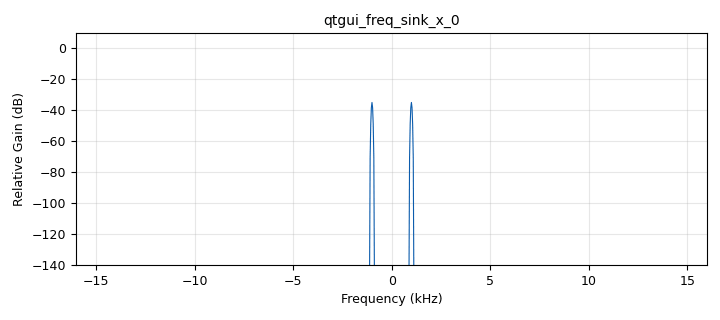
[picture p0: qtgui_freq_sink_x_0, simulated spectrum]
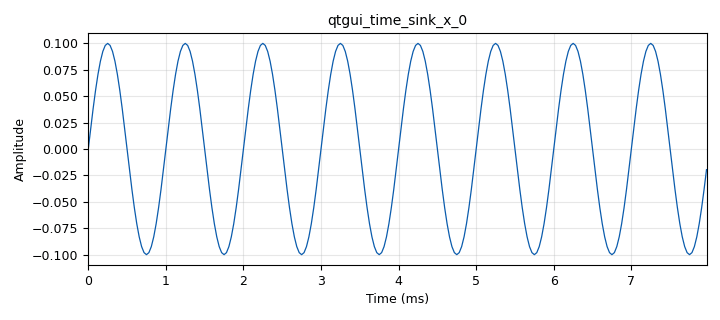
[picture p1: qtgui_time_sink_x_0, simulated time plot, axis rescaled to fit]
options:
  parameters:
    author: Aqil
    generate_options: qt_gui
    id: Praktikum1d
    output_language: python
    title: Not titled yet
  states: {}

blocks:
- name: amplitude
  id: variable_qtgui_range
  parameters:
    start: '-2'
    step: '0.01'
    stop: '2'
    value: '1'
  states: {}
- name: frekuensi
  id: variable_qtgui_range
  parameters:
    start: '20'
    step: '10'
    stop: '20000'
    value: '1000'
  states: {}
- name: offset
  id: variable_qtgui_range
  parameters:
    start: '-2'
    step: '0.1'
    stop: '2'
    value: '0'
  states: {}
- name: samp_rate
  id: variable
  parameters:
    value: '32000'
  states: {}
- name: volume
  id: variable_qtgui_range
  parameters:
    start: '0'
    step: '0.001'
    stop: '1.5'
    value: '0.1'
  states: {}
- name: waveform
  id: variable_qtgui_chooser
  parameters:
    label0: Sine
    label1: Cosine
    label2: Square
    label3: Triangle
    label4: Sawtooth
    num_opts: '5'
    option0: '101'
    option1: '102'
    option2: '103'
    option3: '104'
    option4: '105'
    orient: Qt.QHBoxLayout
    type: int
    value: '101'
    widget: radio_buttons
  states: {}
- name: analog_sig_source_x_0
  id: analog_sig_source_x
  parameters:
    amp: amplitude
    freq: frekuensi
    offset: '0'
    phase: '0'
    samp_rate: samp_rate
    type: float
    waveform: waveform
  states: {}
- name: audio_sink_0
  id: audio_sink
  parameters:
    samp_rate: samp_rate
  states: {}
- name: blocks_multiply_const_vxx_0
  id: blocks_multiply_const_vxx
  parameters:
    const: volume
    type: float
  states: {}
- name: blocks_throttle2_0
  id: blocks_throttle2
  parameters:
    samples_per_second: samp_rate
    type: float
  states: {}
- name: qtgui_freq_sink_x_0
  id: qtgui_freq_sink_x
  parameters:
    bw: samp_rate
    fc: '0'
    fftsize: '1024'
    type: float
  states: {}
- name: qtgui_time_sink_x_0
  id: qtgui_time_sink_x
  parameters:
    color1: dark blue
    size: '256'
    srate: samp_rate
    type: float
    ymax: '3'
    ymin: '-3'
  states: {}

connections:
- [analog_sig_source_x_0, '0', blocks_throttle2_0, '0']
- [blocks_multiply_const_vxx_0, '0', audio_sink_0, '0']
- [blocks_multiply_const_vxx_0, '0', qtgui_freq_sink_x_0, '0']
- [blocks_multiply_const_vxx_0, '0', qtgui_time_sink_x_0, '0']
- [blocks_throttle2_0, '0', blocks_multiply_const_vxx_0, '0']

metadata:
  file_format: 1
  grc_version: 3.10.12.0
